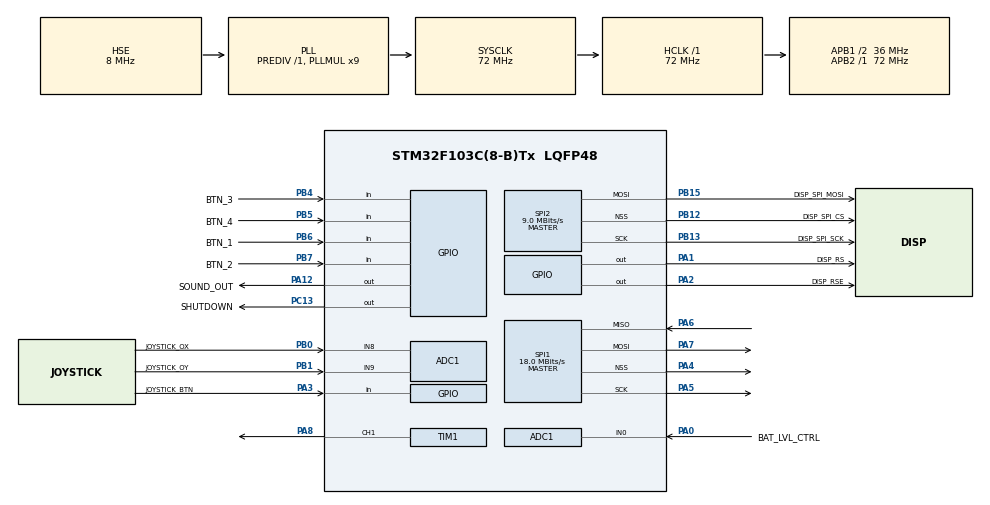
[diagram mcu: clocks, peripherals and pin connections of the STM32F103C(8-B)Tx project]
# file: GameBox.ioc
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ADC1.Channel-0\#ChannelRegularConversion=ADC_CHANNEL_0
ADC1.Channel-1\#ChannelRegularConversion=ADC_CHANNEL_9
ADC1.Channel-2\#ChannelRegularConversion=ADC_CHANNEL_8
ADC1.DataAlign=ADC_DATAALIGN_RIGHT
ADC1.EnableInjectedConversion=DISABLE
ADC1.InjNumberOfConversion=3
ADC1.NbrOfConversion=3
ADC1.NbrOfConversionFlag=1
ADC1.Rank-0\#ChannelRegularConversion=1
ADC1.Rank-1\#ChannelRegularConversion=2
ADC1.Rank-2\#ChannelRegularConversion=3
ADC1.SamplingTime-0\#ChannelRegularConversion=ADC_SAMPLETIME_239CYCLES_5
ADC1.SamplingTime-1\#ChannelRegularConversion=ADC_SAMPLETIME_239CYCLES_5
ADC1.SamplingTime-2\#ChannelRegularConversion=ADC_SAMPLETIME_239CYCLES_5
ADC1.master=1
Dma.ADC1.0.Direction=DMA_PERIPH_TO_MEMORY
Dma.ADC1.0.Instance=DMA1_Channel1
Dma.ADC1.0.MemDataAlignment=DMA_MDATAALIGN_HALFWORD
Dma.ADC1.0.MemInc=DMA_MINC_ENABLE
Dma.ADC1.0.Mode=DMA_NORMAL
Dma.ADC1.0.PeriphDataAlignment=DMA_PDATAALIGN_HALFWORD
Dma.ADC1.0.PeriphInc=DMA_PINC_DISABLE
Dma.ADC1.0.Priority=DMA_PRIORITY_LOW
Dma.Request0=ADC1
Mcu.Family=STM32F1
Mcu.Name=STM32F103C(8-B)Tx
Mcu.Package=LQFP48
NVIC.DMA1_Channel1_IRQn=true\:0\:0\:false\:false\:true\:false\:true\:true
NVIC.PriorityGroup=NVIC_PRIORITYGROUP_4
PA0-WKUP.GPIO_Label=BAT_LVL_CTRL
PA0-WKUP.Signal=SharedAnalog_PA0
PA1.GPIO_Label=DISP_RS
PA1.Signal=GPIO_Output
PA12.GPIO_Label=SOUND_OUT
PA12.Signal=GPIO_Output
PA13.Mode=Trace_Asynchronous_SW
PA13.Signal=SYS_JTMS-SWDIO
PA14.Mode=Trace_Asynchronous_SW
PA14.Signal=SYS_JTCK-SWCLK
PA2.GPIO_Label=DISP_RSE
PA2.Signal=GPIO_Output
PA3.GPIO_Label=JOYSTICK_BTN
PA3.GPIO_PuPd=GPIO_PULLUP
PA3.Signal=GPIO_Input
PA4.Mode=NSS_Signal_Hard_Output
PA4.Signal=SPI1_NSS
PA5.Mode=Full_Duplex_Master
PA5.Signal=SPI1_SCK
PA6.Mode=Full_Duplex_Master
PA6.Signal=SPI1_MISO
PA7.Mode=Full_Duplex_Master
PA7.Signal=SPI1_MOSI
PA8.Signal=S_TIM1_CH1
PB0.GPIO_Label=JOYSTICK_OX
PB0.Signal=SharedAnalog_PB0
PB1.GPIO_Label=JOYSTICK_OY
PB1.Signal=SharedAnalog_PB1
PB12.GPIO_Label=DISP_SPI_CS
PB12.Mode=NSS_Signal_Hard_Output
PB12.Signal=SPI2_NSS
PB13.GPIO_Label=DISP_SPI_SCK
PB13.Mode=TX_Only_Simplex_Unidirect_Master
PB13.Signal=SPI2_SCK
PB15.GPIO_Label=DISP_SPI_MOSI
PB15.Mode=TX_Only_Simplex_Unidirect_Master
PB15.Signal=SPI2_MOSI
PB3.Mode=Trace_Asynchronous_SW
PB3.Signal=SYS_JTDO-TRACESWO
PB4.GPIO_Label=BTN_3
PB4.GPIO_PuPd=GPIO_PULLUP
PB4.Signal=GPIO_Input
PB5.GPIO_Label=BTN_4
PB5.GPIO_PuPd=GPIO_PULLUP
PB5.Signal=GPIO_Input
PB6.GPIO_Label=BTN_1
PB6.GPIO_PuPd=GPIO_PULLUP
PB6.Signal=GPIO_Input
PB7.GPIO_Label=BTN_2
PB7.GPIO_PuPd=GPIO_PULLUP
PB7.Signal=GPIO_Input
PC13-TAMPER-RTC.GPIO_Label=SHUTDOWN
PC13-TAMPER-RTC.GPIO_ModeDefaultOutputPP=GPIO_MODE_OUTPUT_OD
PC13-TAMPER-RTC.GPIO_PuPd=GPIO_NOPULL
PC13-TAMPER-RTC.PinState=GPIO_PIN_SET
PC13-TAMPER-RTC.Signal=GPIO_Output
PC14-OSC32_IN.Mode=LSE-External-Oscillator
PC14-OSC32_IN.Signal=RCC_OSC32_IN
PC15-OSC32_OUT.Mode=LSE-External-Oscillator
PC15-OSC32_OUT.Signal=RCC_OSC32_OUT
PD0-OSC_IN.Mode=HSE-External-Oscillator
PD0-OSC_IN.Signal=RCC_OSC_IN
PD1-OSC_OUT.Mode=HSE-External-Oscillator
PD1-OSC_OUT.Signal=RCC_OSC_OUT
ProjectManager.HeapSize=0x200
ProjectManager.StackSize=0x400
ProjectManager.TargetToolchain=STM32CubeIDE
RCC.ADCPresc=RCC_ADCPCLK2_DIV6
RCC.AHBFreq_Value=72000000
RCC.APB1CLKDivider=RCC_HCLK_DIV2
RCC.APB1Freq_Value=36000000
RCC.APB1TimFreq_Value=72000000
RCC.APB2Freq_Value=72000000
RCC.APB2TimFreq_Value=72000000
RCC.HCLKFreq_Value=72000000
RCC.PLLMUL=RCC_PLL_MUL9
RCC.PLLSourceVirtual=RCC_PLLSOURCE_HSE
RCC.RTCClockSelection=RCC_RTCCLKSOURCE_LSE
RCC.SYSCLKFreq_VALUE=72000000
RCC.SYSCLKSource=RCC_SYSCLKSOURCE_PLLCLK
RCC.USBFreq_Value=48000000
RCC.USBPrescaler=RCC_USBCLKSOURCE_PLL_DIV1_5
RTC.AsynchPrediv=32768
RTC.AutoPrediv=0
SH.S_TIM1_CH1.0=TIM1_CH1,PWM Generation1 CH1
SH.SharedAnalog_PA0.0=GPIO_Analog
SH.SharedAnalog_PA0.1=ADC1_IN0,IN0
SH.SharedAnalog_PB0.0=GPIO_Analog
SH.SharedAnalog_PB0.1=ADC1_IN8,IN8
SH.SharedAnalog_PB1.0=GPIO_Analog
SH.SharedAnalog_PB1.1=ADC1_IN9,IN9
SPI1.BaudRatePrescaler=SPI_BAUDRATEPRESCALER_4
SPI1.CalculateBaudRate=18.0 MBits/s
SPI1.Direction=SPI_DIRECTION_2LINES
SPI1.Mode=SPI_MODE_MASTER
SPI1.VirtualNSS=VM_NSSHARD
SPI1.VirtualType=VM_MASTER
SPI2.BaudRatePrescaler=SPI_BAUDRATEPRESCALER_4
SPI2.CLKPhase=SPI_PHASE_1EDGE
SPI2.CLKPolarity=SPI_POLARITY_LOW
SPI2.CalculateBaudRate=9.0 MBits/s
SPI2.DataSize=SPI_DATASIZE_8BIT
SPI2.Direction=SPI_DIRECTION_2LINES
SPI2.FirstBit=SPI_FIRSTBIT_MSB
SPI2.Mode=SPI_MODE_MASTER
SPI2.VirtualNSS=VM_NSSHARD
SPI2.VirtualType=VM_MASTER
TIM1.Channel-PWM\ Generation1\ CH1=TIM_CHANNEL_1
TIM1.ClockDivision=TIM_CLOCKDIVISION_DIV1
TIM1.Pulse-PWM\ Generation1\ CH1=45000
VP_RTC_No_RTC_Output.Mode=RTC_OUT_NO
VP_RTC_VS_RTC_Activate.Mode=RTC_Enabled
VP_TIM1_VS_ClockSourceINT.Mode=Internal
board=custom

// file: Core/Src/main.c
/* USER CODE BEGIN Header */
/**
  ******************************************************************************
  * @file           : main.c
  * @brief          : Main program body
  ******************************************************************************
  * @attention
  *
  * Copyright (c) 2025 STMicroelectronics.
  * All rights reserved.
  *
  * This software is licensed under terms that can be found in the LICENSE file
  * in the root directory of this software component.
  * If no LICENSE file comes with this software, it is provided AS-IS.
  *
  ******************************************************************************
  */
/* USER CODE END Header */
#include "main.h"

/* USER CODE BEGIN Includes */
#include <stdio.h>
#include "common.h"
#include "drv_LCD_ST7565_SPI.h"
#include "scheduler.h"
#include "mainmenu.h"
/* USER CODE END Includes */

/* USER CODE BEGIN PTD */
typedef union{
    uint16_t array[3];
    struct{
        uint16_t batlvl;
        uint16_t jox;
        uint16_t joy;
    };
}ADCdat_t;
/* USER CODE END PTD */

ADC_HandleTypeDef hadc1;
DMA_HandleTypeDef hdma_adc1;

RTC_HandleTypeDef hrtc;

SPI_HandleTypeDef hspi1;
SPI_HandleTypeDef hspi2;

TIM_HandleTypeDef htim1;

/* USER CODE BEGIN PV */
ADCdat_t ADC_data;
uint8_t adc_complete_fl = 0;
/* USER CODE END PV */

void SystemClock_Config(void);
static void MX_GPIO_Init(void);
static void MX_DMA_Init(void);
static void MX_ADC1_Init(void);
static void MX_SPI2_Init(void);
static void MX_TIM1_Init(void);
static void MX_SPI1_Init(void);
static void MX_RTC_Init(void);

/* USER CODE BEGIN 0 */
int _write(int file, char *ptr, int len)
{
	for (int i = 0; i < len; i++)
	{
		ITM_SendChar(*ptr++);
	}
	return len;
}
/* USER CODE END 0 */

int main(void)
{

  /* MCU Configuration--------------------------------------------------------*/

  /* Reset of all peripherals, Initializes the Flash interface and the Systick. */
  HAL_Init();

  /* Configure the system clock */
  SystemClock_Config();

  /* Initialize all configured peripherals */
  MX_GPIO_Init();
  MX_DMA_Init();
  MX_ADC1_Init();
  MX_SPI2_Init();
  MX_TIM1_Init();
  MX_SPI1_Init();
  MX_RTC_Init();
  /* USER CODE BEGIN 2 */

  commoninit();
  randinit();
  LCD_init();
  LCD_bufupload_buferase();
  initbuttons();
  HAL_ADC_Start_DMA(&hadc1, (uint32_t*)ADC_data.array, 3);
  /* USER CODE END 2 */

  /* Infinite loop */
  /* USER CODE BEGIN WHILE */
  HAL_ADC_Start_DMA(&hadc1, (uint32_t*)ADC_data.array, 3);
/*---------------------------------------------------------------------------------------------------------------------------------------*/
  while (1)
  {
    MainMenu();
    /* USER CODE END WHILE */
    /* USER CODE BEGIN 3 */
  }
  /*---------------------------------------------------------------------------------------------------------------------------------------*/
  /* USER CODE END 3 */
}

void SystemClock_Config(void)
{
  RCC_OscInitTypeDef RCC_OscInitStruct = {0};
  RCC_ClkInitTypeDef RCC_ClkInitStruct = {0};
  RCC_PeriphCLKInitTypeDef PeriphClkInit = {0};

  /** Initializes the RCC Oscillators according to the specified parameters
  * in the RCC_OscInitTypeDef structure.
  */
  RCC_OscInitStruct.OscillatorType = RCC_OSCILLATORTYPE_HSE|RCC_OSCILLATORTYPE_LSE;
  RCC_OscInitStruct.HSEState = RCC_HSE_ON;
  RCC_OscInitStruct.HSEPredivValue = RCC_HSE_PREDIV_DIV1;
  RCC_OscInitStruct.LSEState = RCC_LSE_ON;
  RCC_OscInitStruct.HSIState = RCC_HSI_ON;
  RCC_OscInitStruct.PLL.PLLState = RCC_PLL_ON;
  RCC_OscInitStruct.PLL.PLLSource = RCC_PLLSOURCE_HSE;
  RCC_OscInitStruct.PLL.PLLMUL = RCC_PLL_MUL9;
  if (HAL_RCC_OscConfig(&RCC_OscInitStruct) != HAL_OK)
  {
    Error_Handler();
  }

  /** Initializes the CPU, AHB and APB buses clocks
  */
  RCC_ClkInitStruct.ClockType = RCC_CLOCKTYPE_HCLK|RCC_CLOCKTYPE_SYSCLK
                              |RCC_CLOCKTYPE_PCLK1|RCC_CLOCKTYPE_PCLK2;
  RCC_ClkInitStruct.SYSCLKSource = RCC_SYSCLKSOURCE_PLLCLK;
  RCC_ClkInitStruct.AHBCLKDivider = RCC_SYSCLK_DIV1;
  RCC_ClkInitStruct.APB1CLKDivider = RCC_HCLK_DIV2;
  RCC_ClkInitStruct.APB2CLKDivider = RCC_HCLK_DIV1;

  if (HAL_RCC_ClockConfig(&RCC_ClkInitStruct, FLASH_LATENCY_2) != HAL_OK)
  {
    Error_Handler();
  }
  PeriphClkInit.PeriphClockSelection = RCC_PERIPHCLK_RTC|RCC_PERIPHCLK_ADC;
  PeriphClkInit.RTCClockSelection = RCC_RTCCLKSOURCE_LSE;
  PeriphClkInit.AdcClockSelection = RCC_ADCPCLK2_DIV6;
  if (HAL_RCCEx_PeriphCLKConfig(&PeriphClkInit) != HAL_OK)
  {
    Error_Handler();
  }
}

static void MX_ADC1_Init(void)
{

  ADC_ChannelConfTypeDef sConfig = {0};

  /** Common config
  */
  hadc1.Instance = ADC1;
  hadc1.Init.ScanConvMode = ADC_SCAN_ENABLE;
  hadc1.Init.ContinuousConvMode = DISABLE;
  hadc1.Init.DiscontinuousConvMode = DISABLE;
  hadc1.Init.ExternalTrigConv = ADC_SOFTWARE_START;
  hadc1.Init.DataAlign = ADC_DATAALIGN_RIGHT;
  hadc1.Init.NbrOfConversion = 3;
  if (HAL_ADC_Init(&hadc1) != HAL_OK)
  {
    Error_Handler();
  }

  /** Configure Regular Channel
  */
  sConfig.Channel = ADC_CHANNEL_0;
  sConfig.Rank = ADC_REGULAR_RANK_1;
  sConfig.SamplingTime = ADC_SAMPLETIME_239CYCLES_5;
  if (HAL_ADC_ConfigChannel(&hadc1, &sConfig) != HAL_OK)
  {
    Error_Handler();
  }

  /** Configure Regular Channel
  */
  sConfig.Channel = ADC_CHANNEL_9;
  sConfig.Rank = ADC_REGULAR_RANK_2;
  if (HAL_ADC_ConfigChannel(&hadc1, &sConfig) != HAL_OK)
  {
    Error_Handler();
  }

  /** Configure Regular Channel
  */
  sConfig.Channel = ADC_CHANNEL_8;
  sConfig.Rank = ADC_REGULAR_RANK_3;
  if (HAL_ADC_ConfigChannel(&hadc1, &sConfig) != HAL_OK)
  {
    Error_Handler();
  }

}

static void MX_RTC_Init(void)
{

  /* USER CODE BEGIN RTC_Init 0 */
#if 0
  /* USER CODE END RTC_Init 0 */

  RTC_TimeTypeDef sTime = {0};
  RTC_DateTypeDef DateToUpdate = {0};

  /* USER CODE BEGIN RTC_Init 1 */
#endif
  /* USER CODE END RTC_Init 1 */

  /** Initialize RTC Only
  */
  hrtc.Instance = RTC;
  hrtc.Init.AsynchPrediv = 32768;
  hrtc.Init.OutPut = RTC_OUTPUTSOURCE_NONE;
  if (HAL_RTC_Init(&hrtc) != HAL_OK)
  {
    Error_Handler();
  }

  /* USER CODE BEGIN Check_RTC_BKUP */
#if 0
  /* USER CODE END Check_RTC_BKUP */

  /** Initialize RTC and set the Time and Date
  */
  sTime.Hours = 0x0;
  sTime.Minutes = 0x0;
  sTime.Seconds = 0x0;

  if (HAL_RTC_SetTime(&hrtc, &sTime, RTC_FORMAT_BCD) != HAL_OK)
  {
    Error_Handler();
  }
  DateToUpdate.WeekDay = RTC_WEEKDAY_MONDAY;
  DateToUpdate.Month = RTC_MONTH_JANUARY;
  DateToUpdate.Date = 0x1;
  DateToUpdate.Year = 0x0;

  if (HAL_RTC_SetDate(&hrtc, &DateToUpdate, RTC_FORMAT_BCD) != HAL_OK)
  {
    Error_Handler();
  }
  /* USER CODE BEGIN RTC_Init 2 */
#endif
  /* USER CODE END RTC_Init 2 */

}

static void MX_SPI1_Init(void)
{

  /* SPI1 parameter configuration*/
  hspi1.Instance = SPI1;
  hspi1.Init.Mode = SPI_MODE_MASTER;
  hspi1.Init.Direction = SPI_DIRECTION_2LINES;
  hspi1.Init.DataSize = SPI_DATASIZE_8BIT;
  hspi1.Init.CLKPolarity = SPI_POLARITY_LOW;
  hspi1.Init.CLKPhase = SPI_PHASE_1EDGE;
  hspi1.Init.NSS = SPI_NSS_HARD_OUTPUT;
  hspi1.Init.BaudRatePrescaler = SPI_BAUDRATEPRESCALER_4;
  hspi1.Init.FirstBit = SPI_FIRSTBIT_MSB;
  hspi1.Init.TIMode = SPI_TIMODE_DISABLE;
  hspi1.Init.CRCCalculation = SPI_CRCCALCULATION_DISABLE;
  hspi1.Init.CRCPolynomial = 10;
  if (HAL_SPI_Init(&hspi1) != HAL_OK)
  {
    Error_Handler();
  }

}

static void MX_SPI2_Init(void)
{

  /* SPI2 parameter configuration*/
  hspi2.Instance = SPI2;
  hspi2.Init.Mode = SPI_MODE_MASTER;
  hspi2.Init.Direction = SPI_DIRECTION_2LINES;
  hspi2.Init.DataSize = SPI_DATASIZE_8BIT;
  hspi2.Init.CLKPolarity = SPI_POLARITY_LOW;
  hspi2.Init.CLKPhase = SPI_PHASE_1EDGE;
  hspi2.Init.NSS = SPI_NSS_HARD_OUTPUT;
  hspi2.Init.BaudRatePrescaler = SPI_BAUDRATEPRESCALER_4;
  hspi2.Init.FirstBit = SPI_FIRSTBIT_MSB;
  hspi2.Init.TIMode = SPI_TIMODE_DISABLE;
  hspi2.Init.CRCCalculation = SPI_CRCCALCULATION_DISABLE;
  hspi2.Init.CRCPolynomial = 10;
  if (HAL_SPI_Init(&hspi2) != HAL_OK)
  {
    Error_Handler();
  }

}

static void MX_TIM1_Init(void)
{

  TIM_ClockConfigTypeDef sClockSourceConfig = {0};
  TIM_MasterConfigTypeDef sMasterConfig = {0};
  TIM_OC_InitTypeDef sConfigOC = {0};
  TIM_BreakDeadTimeConfigTypeDef sBreakDeadTimeConfig = {0};

  htim1.Instance = TIM1;
  htim1.Init.Prescaler = 0;
  htim1.Init.CounterMode = TIM_COUNTERMODE_UP;
  htim1.Init.Period = 65535;
  htim1.Init.ClockDivision = TIM_CLOCKDIVISION_DIV1;
  htim1.Init.RepetitionCounter = 0;
  htim1.Init.AutoReloadPreload = TIM_AUTORELOAD_PRELOAD_DISABLE;
  if (HAL_TIM_Base_Init(&htim1) != HAL_OK)
  {
    Error_Handler();
  }
  sClockSourceConfig.ClockSource = TIM_CLOCKSOURCE_INTERNAL;
  if (HAL_TIM_ConfigClockSource(&htim1, &sClockSourceConfig) != HAL_OK)
  {
    Error_Handler();
  }
  if (HAL_TIM_PWM_Init(&htim1) != HAL_OK)
  {
    Error_Handler();
  }
  sMasterConfig.MasterOutputTrigger = TIM_TRGO_RESET;
  sMasterConfig.MasterSlaveMode = TIM_MASTERSLAVEMODE_DISABLE;
  if (HAL_TIMEx_MasterConfigSynchronization(&htim1, &sMasterConfig) != HAL_OK)
  {
    Error_Handler();
  }
  sConfigOC.OCMode = TIM_OCMODE_PWM1;
  sConfigOC.Pulse = 45000;
  sConfigOC.OCPolarity = TIM_OCPOLARITY_HIGH;
  sConfigOC.OCNPolarity = TIM_OCNPOLARITY_HIGH;
  sConfigOC.OCFastMode = TIM_OCFAST_DISABLE;
  sConfigOC.OCIdleState = TIM_OCIDLESTATE_RESET;
  sConfigOC.OCNIdleState = TIM_OCNIDLESTATE_RESET;
  if (HAL_TIM_PWM_ConfigChannel(&htim1, &sConfigOC, TIM_CHANNEL_1) != HAL_OK)
  {
    Error_Handler();
  }
  sBreakDeadTimeConfig.OffStateRunMode = TIM_OSSR_DISABLE;
  sBreakDeadTimeConfig.OffStateIDLEMode = TIM_OSSI_DISABLE;
  sBreakDeadTimeConfig.LockLevel = TIM_LOCKLEVEL_OFF;
  sBreakDeadTimeConfig.DeadTime = 0;
  sBreakDeadTimeConfig.BreakState = TIM_BREAK_DISABLE;
  sBreakDeadTimeConfig.BreakPolarity = TIM_BREAKPOLARITY_HIGH;
  sBreakDeadTimeConfig.AutomaticOutput = TIM_AUTOMATICOUTPUT_DISABLE;
  if (HAL_TIMEx_ConfigBreakDeadTime(&htim1, &sBreakDeadTimeConfig) != HAL_OK)
  {
    Error_Handler();
  }
  HAL_TIM_MspPostInit(&htim1);

}

static void MX_DMA_Init(void)
{

  /* DMA controller clock enable */
  __HAL_RCC_DMA1_CLK_ENABLE();

  /* DMA interrupt init */
  /* DMA1_Channel1_IRQn interrupt configuration */
  HAL_NVIC_SetPriority(DMA1_Channel1_IRQn, 0, 0);
  HAL_NVIC_EnableIRQ(DMA1_Channel1_IRQn);

}

static void MX_GPIO_Init(void)
{
  GPIO_InitTypeDef GPIO_InitStruct = {0};

  /* GPIO Ports Clock Enable */
  __HAL_RCC_GPIOC_CLK_ENABLE();
  __HAL_RCC_GPIOD_CLK_ENABLE();
  __HAL_RCC_GPIOA_CLK_ENABLE();
  __HAL_RCC_GPIOB_CLK_ENABLE();

  /*Configure GPIO pin Output Level */
  HAL_GPIO_WritePin(SHUTDOWN_GPIO_Port, SHUTDOWN_Pin, GPIO_PIN_SET);

  /*Configure GPIO pin Output Level */
  HAL_GPIO_WritePin(GPIOA, DISP_RS_Pin|DISP_RSE_Pin|SOUND_OUT_Pin, GPIO_PIN_RESET);

  /*Configure GPIO pin : SHUTDOWN_Pin */
  GPIO_InitStruct.Pin = SHUTDOWN_Pin;
  GPIO_InitStruct.Mode = GPIO_MODE_OUTPUT_OD;
  GPIO_InitStruct.Pull = GPIO_NOPULL;
  GPIO_InitStruct.Speed = GPIO_SPEED_FREQ_LOW;
  HAL_GPIO_Init(SHUTDOWN_GPIO_Port, &GPIO_InitStruct);

  /*Configure GPIO pins : DISP_RS_Pin DISP_RSE_Pin SOUND_OUT_Pin */
  GPIO_InitStruct.Pin = DISP_RS_Pin|DISP_RSE_Pin|SOUND_OUT_Pin;
  GPIO_InitStruct.Mode = GPIO_MODE_OUTPUT_PP;
  GPIO_InitStruct.Pull = GPIO_NOPULL;
  GPIO_InitStruct.Speed = GPIO_SPEED_FREQ_LOW;
  HAL_GPIO_Init(GPIOA, &GPIO_InitStruct);

  /*Configure GPIO pin : JOYSTICK_BTN_Pin */
  GPIO_InitStruct.Pin = JOYSTICK_BTN_Pin;
  GPIO_InitStruct.Mode = GPIO_MODE_INPUT;
  GPIO_InitStruct.Pull = GPIO_PULLUP;
  HAL_GPIO_Init(JOYSTICK_BTN_GPIO_Port, &GPIO_InitStruct);

  /*Configure GPIO pins : BTN_3_Pin BTN_4_Pin BTN_1_Pin BTN_2_Pin */
  GPIO_InitStruct.Pin = BTN_3_Pin|BTN_4_Pin|BTN_1_Pin|BTN_2_Pin;
  GPIO_InitStruct.Mode = GPIO_MODE_INPUT;
  GPIO_InitStruct.Pull = GPIO_PULLUP;
  HAL_GPIO_Init(GPIOB, &GPIO_InitStruct);

}

/* USER CODE BEGIN 4 */
void HAL_IncTick(void)
{
  uwTick += uwTickFreq;
  timestamp++;
  SchedPeriodIncr();

  static uint32_t timer_adc = 0;
  if( ((timestamp - timer_adc) > 20) && adc_complete_fl )
  {
    timer_adc = timestamp;
    HAL_ADC_Start_DMA(&hadc1, (uint32_t*)ADC_data.array, 3);
  }
}

void HAL_ADC_ConvCpltCallback(ADC_HandleTypeDef* hadc)
{
  if(hadc->Instance == ADC1)
  {
    joystick.ox = (uint8_t)(ADC_data.jox/16);
    joystick.oy = (uint8_t)(ADC_data.joy/16);
    Ubat = (uint8_t)(ADC_data.batlvl/16);
    adc_complete_fl = 1;
  }
}
/* USER CODE END 4 */

void Error_Handler(void)
{
  __disable_irq();
  while (1)
  {
  }
}
